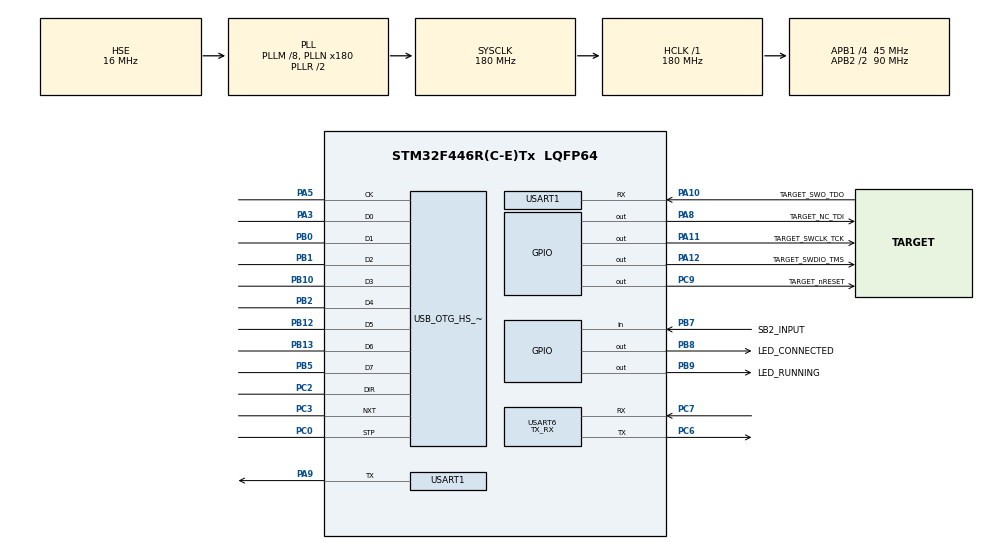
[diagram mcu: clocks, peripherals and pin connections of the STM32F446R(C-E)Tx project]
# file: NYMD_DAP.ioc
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Dma.Request0=USART1_RX
Dma.USART1_RX.0.Direction=DMA_PERIPH_TO_MEMORY
Dma.USART1_RX.0.FIFOMode=DMA_FIFOMODE_ENABLE
Dma.USART1_RX.0.FIFOThreshold=DMA_FIFO_THRESHOLD_3QUARTERSFULL
Dma.USART1_RX.0.Instance=DMA2_Stream2
Dma.USART1_RX.0.MemBurst=DMA_MBURST_SINGLE
Dma.USART1_RX.0.MemDataAlignment=DMA_MDATAALIGN_WORD
Dma.USART1_RX.0.MemInc=DMA_MINC_ENABLE
Dma.USART1_RX.0.Mode=DMA_NORMAL
Dma.USART1_RX.0.PeriphBurst=DMA_PBURST_SINGLE
Dma.USART1_RX.0.PeriphDataAlignment=DMA_PDATAALIGN_BYTE
Dma.USART1_RX.0.PeriphInc=DMA_PINC_DISABLE
Dma.USART1_RX.0.Priority=DMA_PRIORITY_VERY_HIGH
Mcu.Family=STM32F4
Mcu.Name=STM32F446R(C-E)Tx
Mcu.Package=LQFP64
NVIC.DMA2_Stream2_IRQn=true\:0\:0\:false\:false\:true\:false\:true\:true
NVIC.OTG_HS_EP1_IN_IRQn=true\:1\:0\:true\:false\:true\:true\:true\:true
NVIC.OTG_HS_EP1_OUT_IRQn=true\:1\:0\:true\:false\:true\:true\:true\:true
NVIC.OTG_HS_IRQn=true\:2\:0\:true\:false\:true\:true\:true\:true
NVIC.PriorityGroup=NVIC_PRIORITYGROUP_4
NVIC.USART1_IRQn=true\:3\:0\:true\:false\:true\:true\:true\:true
NVIC.USART6_IRQn=true\:4\:0\:true\:false\:true\:true\:true\:true
PA10.GPIO_Label=TARGET_SWO_TDO
PA10.Mode=Asynchronous
PA10.Signal=USART1_RX
PA11.GPIO_Label=TARGET_SWCLK_TCK
PA11.GPIO_Speed=GPIO_SPEED_FREQ_VERY_HIGH
PA11.Signal=GPIO_Output
PA12.GPIO_Label=TARGET_SWDIO_TMS
PA12.GPIO_Speed=GPIO_SPEED_FREQ_VERY_HIGH
PA12.Signal=GPIO_Output
PA13.Mode=Serial_Wire
PA13.Signal=SYS_JTMS-SWDIO
PA14.Mode=Serial_Wire
PA14.Signal=SYS_JTCK-SWCLK
PA3.Mode=Device_HS
PA3.Signal=USB_OTG_HS_ULPI_D0
PA5.Mode=Device_HS
PA5.Signal=USB_OTG_HS_ULPI_CK
PA8.GPIO_Label=TARGET_NC_TDI
PA8.GPIO_Speed=GPIO_SPEED_FREQ_VERY_HIGH
PA8.Signal=GPIO_Output
PA9.Mode=Asynchronous
PA9.Signal=USART1_TX
PB0.Mode=Device_HS
PB0.Signal=USB_OTG_HS_ULPI_D1
PB1.Mode=Device_HS
PB1.Signal=USB_OTG_HS_ULPI_D2
PB10.Mode=Device_HS
PB10.Signal=USB_OTG_HS_ULPI_D3
PB12.Mode=Device_HS
PB12.Signal=USB_OTG_HS_ULPI_D5
PB13.Mode=Device_HS
PB13.Signal=USB_OTG_HS_ULPI_D6
PB2.Mode=Device_HS
PB2.Signal=USB_OTG_HS_ULPI_D4
PB5.Mode=Device_HS
PB5.Signal=USB_OTG_HS_ULPI_D7
PB7.GPIO_Label=SB2_INPUT
PB7.Signal=GPIO_Input
PB8.GPIO_Label=LED_CONNECTED
PB8.Signal=GPIO_Output
PB9.GPIO_Label=LED_RUNNING
PB9.Signal=GPIO_Output
PC0.Mode=Device_HS
PC0.Signal=USB_OTG_HS_ULPI_STP
PC2.Mode=Device_HS
PC2.Signal=USB_OTG_HS_ULPI_DIR
PC3.Mode=Device_HS
PC3.Signal=USB_OTG_HS_ULPI_NXT
PC6.Mode=Asynchronous
PC6.Signal=USART6_TX
PC7.Mode=Asynchronous
PC7.Signal=USART6_RX
PC9.GPIO_Label=TARGET_nRESET
PC9.GPIO_Speed=GPIO_SPEED_FREQ_VERY_HIGH
PC9.Signal=GPIO_Output
PH0-OSC_IN.Mode=HSE-External-Oscillator
PH0-OSC_IN.Signal=RCC_OSC_IN
PH1-OSC_OUT.Mode=HSE-External-Oscillator
PH1-OSC_OUT.Signal=RCC_OSC_OUT
ProjectManager.HeapSize=0x200
ProjectManager.StackSize=0x400
ProjectManager.TargetToolchain=STM32CubeIDE
RCC.AHBFreq_Value=180000000
RCC.APB1CLKDivider=RCC_HCLK_DIV4
RCC.APB1Freq_Value=45000000
RCC.APB1TimFreq_Value=90000000
RCC.APB2CLKDivider=RCC_HCLK_DIV2
RCC.APB2Freq_Value=90000000
RCC.APB2TimFreq_Value=180000000
RCC.CortexFreq_Value=180000000
RCC.HCLKFreq_Value=180000000
RCC.HSE_VALUE=16000000
RCC.PLLM=8
RCC.PLLN=180
RCC.PLLSourceVirtual=RCC_PLLSOURCE_HSE
RCC.SYSCLKFreq_VALUE=180000000
RCC.SYSCLKSource=RCC_SYSCLKSOURCE_PLLRCLK
RCC.USBFreq_Value=180000000
RCC.VCOOutputFreq_Value=360000000
USART1.Mode=MODE_RX
USART1.VirtualMode=VM_ASYNC
USART6.Mode=MODE_TX_RX
USART6.VirtualMode=VM_ASYNC
USB_OTG_HS.VirtualMode-Device_HS=Device_HS
board=custom

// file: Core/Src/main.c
/* USER CODE BEGIN Header */
/**
  ******************************************************************************
  * @file           : main.c
  * @brief          : Main program body
  ******************************************************************************
  * @attention
  *
  * Copyright (c) 2024 STMicroelectronics.
  * All rights reserved.
  *
  * This software is licensed under terms that can be found in the LICENSE file
  * in the root directory of this software component.
  * If no LICENSE file comes with this software, it is provided AS-IS.
  *
  ******************************************************************************
  */
/* USER CODE END Header */
#include "main.h"
#include "dma.h"
#include "usart.h"
#include "gpio.h"

/* USER CODE BEGIN Includes */
#include "debugger.h"	//TODO clear unused includes
#include "usbd_cdc.h"
#include "usbd_customhid.h"
#include "usbd_composite_builder.h"
#include "usbd_desc.h"
#include "usbd_custom_hid_if.h"
#include "usbd_cdc_if.h"
#include "usbd_custom_bulk.h"
#include "circ_buf.h"
#include "DAP_config.h"
/* USER CODE END Includes */

/* USER CODE BEGIN PV */
USBD_HandleTypeDef hUsbDeviceHS;

uint8_t CDC_InstID, CUSTOMHID_InstID = 0;

uint8_t CustomHID_EpAdress[2] = {CUSTOM_HID_EPIN_ADDR, CUSTOM_HID_EPOUT_ADDR};  /* CustomHID Endpoint Adress */
uint8_t CDC_EpAdress[3] = {CDC_IN_EP, CDC_OUT_EP, CDC_CMD_EP};  /* CDC Endpoint Adress */
/* USER CODE END PV */

void SystemClock_Config(void);

/* USER CODE BEGIN 0 */
uint8_t debug_buffer[50];
/* USER CODE END 0 */

int main(void)
{

  /* MCU Configuration--------------------------------------------------------*/

  /* Reset of all peripherals, Initializes the Flash interface and the Systick. */
  HAL_Init();

  /* Configure the system clock */
  SystemClock_Config();

  /* Initialize all configured peripherals */
  MX_GPIO_Init();
  MX_DMA_Init();
  MX_USART1_UART_Init();
  MX_USART6_UART_Init();
  /* USER CODE BEGIN 2 */

  /* init circular buffers */
  cbuf_init_ALL();

  /* Init Device Library, add supported class and start the library. */
  if (USBD_Init(&hUsbDeviceHS, &HS_Desc, DEVICE_HS) != USBD_OK)
  {
	  Error_Handler();
  }

  //debug
  USBD_StatusTypeDef retval;

#ifdef DAP_FW_V1
  /* Store CDC instance Class ID */
  CDC_InstID = hUsbDeviceHS.classId;

  /* Register CDC class first instance */
  retval = USBD_RegisterClassComposite(&hUsbDeviceHS, USBD_CDC_CLASS, CLASS_TYPE_CDC, CDC_EpAdress);

  /* Store Custom HID instance Class ID */
  CUSTOMHID_InstID = hUsbDeviceHS.classId;

  /* Register the Custom HID  class */
  retval = USBD_RegisterClassComposite(&hUsbDeviceHS, USBD_CUSTOM_HID_CLASS, CLASS_TYPE_CHID, CustomHID_EpAdress);

  /* Add CDC Interface Class */
  if (USBD_CMPSIT_SetClassID(&hUsbDeviceHS, CLASS_TYPE_CDC, 0) != 0xFF)
  {
	  retval = USBD_CDC_RegisterInterface(&hUsbDeviceHS, &USBD_CDC_fops_HS);
  }

  /* Add Custom HID Interface Class */
  if (USBD_CMPSIT_SetClassID(&hUsbDeviceHS, CLASS_TYPE_CHID, 0) != 0xFF)
  {
	  retval = USBD_CUSTOM_HID_RegisterInterface(&hUsbDeviceHS, &USBD_CustomHID_fops_HS);
  }
#else

  USBD_RegisterClass(&hUsbDeviceHS, &USBD_TEMPLATE_ClassDriver);
#endif /* (#ifdef DAP_FW_V1 ) */

  retval = USBD_Start(&hUsbDeviceHS);
  if ( retval != USBD_OK)
  {
	  Error_Handler();
  }

  //printf("\r\n");
  printf("NYMD DAP, running in HID mode\r\n"); //TODO add HID/BULK switch
  printf("Build: "__DATE__" " __TIME__"\r\n");
  APP_Setup();

  //HAL_UART_Receive_DMA(&huart1, debug_buffer, 12);
  //HAL_UARTEx_ReceiveToIdle_DMA(&huart1, debug_buffer, 12);

  /* USER CODE END 2 */

  /* Infinite loop */
  while (1)
  {

    /* USER CODE BEGIN 3 */
    APP_Run();

  }
  /* USER CODE END 3 */
}

void SystemClock_Config(void)
{
  RCC_OscInitTypeDef RCC_OscInitStruct = {0};
  RCC_ClkInitTypeDef RCC_ClkInitStruct = {0};

  /** Configure the main internal regulator output voltage
  */
  __HAL_RCC_PWR_CLK_ENABLE();
  __HAL_PWR_VOLTAGESCALING_CONFIG(PWR_REGULATOR_VOLTAGE_SCALE1);

  /** Initializes the RCC Oscillators according to the specified parameters
  * in the RCC_OscInitTypeDef structure.
  */
  RCC_OscInitStruct.OscillatorType = RCC_OSCILLATORTYPE_HSE;
  RCC_OscInitStruct.HSEState = RCC_HSE_ON;
  RCC_OscInitStruct.PLL.PLLState = RCC_PLL_ON;
  RCC_OscInitStruct.PLL.PLLSource = RCC_PLLSOURCE_HSE;
  RCC_OscInitStruct.PLL.PLLM = 8;
  RCC_OscInitStruct.PLL.PLLN = 180;
  RCC_OscInitStruct.PLL.PLLP = RCC_PLLP_DIV2;
  RCC_OscInitStruct.PLL.PLLQ = 2;
  RCC_OscInitStruct.PLL.PLLR = 2;
  if (HAL_RCC_OscConfig(&RCC_OscInitStruct) != HAL_OK)
  {
    Error_Handler();
  }

  /** Activate the Over-Drive mode
  */
  if (HAL_PWREx_EnableOverDrive() != HAL_OK)
  {
    Error_Handler();
  }

  /** Initializes the CPU, AHB and APB buses clocks
  */
  RCC_ClkInitStruct.ClockType = RCC_CLOCKTYPE_HCLK|RCC_CLOCKTYPE_SYSCLK
                              |RCC_CLOCKTYPE_PCLK1|RCC_CLOCKTYPE_PCLK2;
  RCC_ClkInitStruct.SYSCLKSource = RCC_SYSCLKSOURCE_PLLRCLK;
  RCC_ClkInitStruct.AHBCLKDivider = RCC_SYSCLK_DIV1;
  RCC_ClkInitStruct.APB1CLKDivider = RCC_HCLK_DIV4;
  RCC_ClkInitStruct.APB2CLKDivider = RCC_HCLK_DIV2;

  if (HAL_RCC_ClockConfig(&RCC_ClkInitStruct, FLASH_LATENCY_5) != HAL_OK)
  {
    Error_Handler();
  }
}

/* USER CODE BEGIN 4 */
#ifdef UART6_DEBUG
int __io_putchar(int ch){
	HAL_UART_Transmit(&huart6, (uint8_t *)&ch, 1, HAL_MAX_DELAY);
	return ch;
}
#endif
/* USER CODE END 4 */

void Error_Handler(void)
{
  __disable_irq();
  while (1)
  {
  }
}
